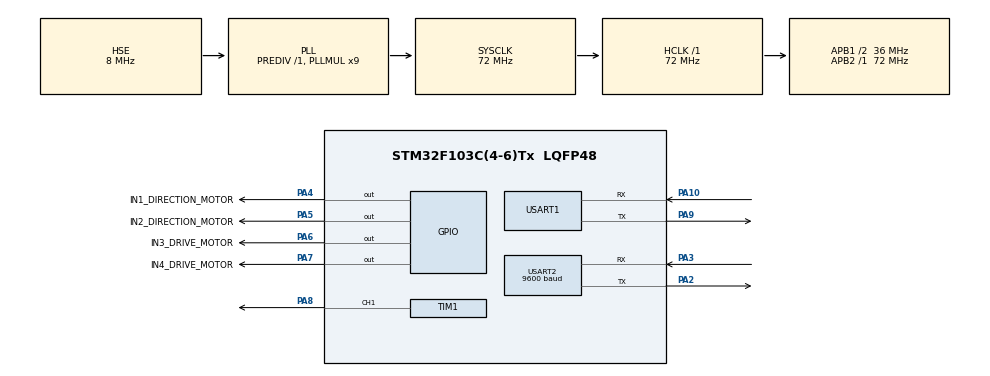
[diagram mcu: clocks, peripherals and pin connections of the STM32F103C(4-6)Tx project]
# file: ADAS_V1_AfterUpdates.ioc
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FREERTOS.Tasks01=defaultTask,-3,128,StartDefaultTask,Default,NULL,Dynamic,NULL,NULL;myTask02,2,128,T1_FCW_FCA_BA,Default,NULL,Dynamic,NULL,NULL;myTask04,3,128,T3_MotionDrive,Default,NULL,Dynamic,NULL,NULL
FREERTOS.configUSE_NEWLIB_REENTRANT=1
Mcu.Family=STM32F1
Mcu.Name=STM32F103C(4-6)Tx
Mcu.Package=LQFP48
NVIC.PriorityGroup=NVIC_PRIORITYGROUP_4
NVIC.TIM3_IRQn=true\:15\:0\:false\:false\:true\:false\:false\:true\:true
NVIC.TimeBase=TIM3_IRQn
NVIC.TimeBaseIP=TIM3
NVIC.USART1_IRQn=true\:5\:0\:false\:false\:true\:true\:true\:true\:true
NVIC.USART2_IRQn=true\:5\:0\:false\:false\:true\:true\:true\:true\:true
PA10.Mode=Asynchronous
PA10.Signal=USART1_RX
PA13.Mode=Serial_Wire
PA13.Signal=SYS_JTMS-SWDIO
PA14.Mode=Serial_Wire
PA14.Signal=SYS_JTCK-SWCLK
PA2.Mode=Asynchronous
PA2.Signal=USART2_TX
PA3.Mode=Asynchronous
PA3.Signal=USART2_RX
PA4.GPIO_Label=IN1_DIRECTION_MOTOR
PA4.Signal=GPIO_Output
PA5.GPIO_Label=IN2_DIRECTION_MOTOR
PA5.Signal=GPIO_Output
PA6.GPIO_Label=IN3_DRIVE_MOTOR
PA6.Signal=GPIO_Output
PA7.GPIO_Label=IN4_DRIVE_MOTOR
PA7.Signal=GPIO_Output
PA8.Signal=S_TIM1_CH1
PA9.Mode=Asynchronous
PA9.Signal=USART1_TX
PD0-OSC_IN.Mode=HSE-External-Oscillator
PD0-OSC_IN.Signal=RCC_OSC_IN
PD1-OSC_OUT.Mode=HSE-External-Oscillator
PD1-OSC_OUT.Signal=RCC_OSC_OUT
ProjectManager.HeapSize=0x200
ProjectManager.StackSize=0x400
ProjectManager.TargetToolchain=STM32CubeIDE
RCC.AHBFreq_Value=72000000
RCC.APB1CLKDivider=RCC_HCLK_DIV2
RCC.APB1Freq_Value=36000000
RCC.APB1TimFreq_Value=72000000
RCC.APB2Freq_Value=72000000
RCC.APB2TimFreq_Value=72000000
RCC.HCLKFreq_Value=72000000
RCC.PLLMUL=RCC_PLL_MUL9
RCC.PLLSourceVirtual=RCC_PLLSOURCE_HSE
RCC.SYSCLKFreq_VALUE=72000000
RCC.SYSCLKSource=RCC_SYSCLKSOURCE_PLLCLK
RCC.USBFreq_Value=72000000
SH.S_TIM1_CH1.0=TIM1_CH1,PWM Generation1 CH1
TIM1.AutoReloadPreload=TIM_AUTORELOAD_PRELOAD_ENABLE
TIM1.Channel-PWM\ Generation1\ CH1=TIM_CHANNEL_1
TIM1.Period=100-1
TIM1.Prescaler=72-1
USART1.VirtualMode=VM_ASYNC
USART2.BaudRate=9600
USART2.VirtualMode=VM_ASYNC
VP_FREERTOS_VS_CMSIS_V1.Mode=CMSIS_V1
VP_SYS_VS_tim3.Mode=TIM3
VP_TIM1_VS_ClockSourceINT.Mode=Internal
board=custom

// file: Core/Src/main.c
/* USER CODE BEGIN Header */
/**
  ******************************************************************************
  * @file           : main.c
  * @brief          : Main program body
  ******************************************************************************
  * @attention
  *
  * Copyright (c) 2024 STMicroelectronics.
  * All rights reserved.
  *
  * This software is licensed under terms that can be found in the LICENSE file
  * in the root directory of this software component.
  * If no LICENSE file comes with this software, it is provided AS-IS.
  *
  ******************************************************************************
  */
/* USER CODE END Header */
#include "main.h"
#include "cmsis_os.h"
#include "tim.h"
#include "usart.h"
#include "gpio.h"

/* USER CODE BEGIN Includes */
#include "motor_Interf.h"
/* USER CODE END Includes */

/* USER CODE BEGIN PV */
uint8_t g_key =0; // global variable to receive from uart
uint8_t g_Action =0; // global variable to receive from uart

/* USER CODE END PV */

void SystemClock_Config(void);
void MX_FREERTOS_Init(void);

int main(void)
{

  /* MCU Configuration--------------------------------------------------------*/

  /* Reset of all peripherals, Initializes the Flash interface and the Systick. */
  HAL_Init();

  /* Configure the system clock */
  SystemClock_Config();

  /* Initialize all configured peripherals */
  MX_GPIO_Init();
  MX_TIM1_Init();
  MX_USART2_UART_Init();
  MX_USART1_UART_Init();
  /* USER CODE BEGIN 2 */
  HAL_UART_Receive_IT(&huart1, &g_Action, 1);	// start the uart to receive with interrupt
  HAL_UART_Receive_IT(&huart2, &g_key, 1);	// start the uart to receive with interrupt
  /* USER CODE END 2 */

  /* Call init function for freertos objects (in cmsis_os2.c) */
  MX_FREERTOS_Init();

  /* Start scheduler */
  osKernelStart();

  /* We should never get here as control is now taken by the scheduler */

  /* Infinite loop */
  while (1)
  {

  }
}

void SystemClock_Config(void)
{
  RCC_OscInitTypeDef RCC_OscInitStruct = {0};
  RCC_ClkInitTypeDef RCC_ClkInitStruct = {0};

  /** Initializes the RCC Oscillators according to the specified parameters
  * in the RCC_OscInitTypeDef structure.
  */
  RCC_OscInitStruct.OscillatorType = RCC_OSCILLATORTYPE_HSE;
  RCC_OscInitStruct.HSEState = RCC_HSE_ON;
  RCC_OscInitStruct.HSEPredivValue = RCC_HSE_PREDIV_DIV1;
  RCC_OscInitStruct.HSIState = RCC_HSI_ON;
  RCC_OscInitStruct.PLL.PLLState = RCC_PLL_ON;
  RCC_OscInitStruct.PLL.PLLSource = RCC_PLLSOURCE_HSE;
  RCC_OscInitStruct.PLL.PLLMUL = RCC_PLL_MUL9;
  if (HAL_RCC_OscConfig(&RCC_OscInitStruct) != HAL_OK)
  {
    Error_Handler();
  }

  /** Initializes the CPU, AHB and APB buses clocks
  */
  RCC_ClkInitStruct.ClockType = RCC_CLOCKTYPE_HCLK|RCC_CLOCKTYPE_SYSCLK
                              |RCC_CLOCKTYPE_PCLK1|RCC_CLOCKTYPE_PCLK2;
  RCC_ClkInitStruct.SYSCLKSource = RCC_SYSCLKSOURCE_PLLCLK;
  RCC_ClkInitStruct.AHBCLKDivider = RCC_SYSCLK_DIV1;
  RCC_ClkInitStruct.APB1CLKDivider = RCC_HCLK_DIV2;
  RCC_ClkInitStruct.APB2CLKDivider = RCC_HCLK_DIV1;

  if (HAL_RCC_ClockConfig(&RCC_ClkInitStruct, FLASH_LATENCY_2) != HAL_OK)
  {
    Error_Handler();
  }
}

void HAL_TIM_PeriodElapsedCallback(TIM_HandleTypeDef *htim)
{
  if (htim->Instance == TIM3) {
    HAL_IncTick();
  }
}

void Error_Handler(void)
{
  __disable_irq();
  while (1)
  {
  }
}

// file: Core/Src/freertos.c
/* USER CODE BEGIN Header */
/**
  ******************************************************************************
  * File Name          : freertos.c
  * Description        : Code for freertos applications
  ******************************************************************************
  * @attention
  *
  * Copyright (c) 2024 STMicroelectronics.
  * All rights reserved.
  *
  * This software is licensed under terms that can be found in the LICENSE file
  * in the root directory of this software component.
  * If no LICENSE file comes with this software, it is provided AS-IS.
  *
  ******************************************************************************
  */
/* USER CODE END Header */

#include "FreeRTOS.h"
#include "task.h"
#include "main.h"
#include "cmsis_os.h"

/* USER CODE BEGIN Includes */
#include "motor_Interf.h"
#include "usart.h"
#include "tim.h"
#include "AB_Interf.h"
#include "FCA_Interf.h"
#include "FCW_Interf.h"
/* USER CODE END Includes */

/* USER CODE BEGIN PM */
#define MOVE_FORWARD		'f'
#define MOVE_BACKWARD		'b'
#define MOVE_RIGHT			'r'
#define MOVE_LEFT			'l'
#define STOP				's'

/* USER CODE END PM */

/* USER CODE BEGIN Variables */
uint8_t motion_Direction =0;
uint8_t motion_PWM=0;
uint8_t distance=255;
uint8_t ultrasonicReadsVariable;
uint8_t ultrasoncForwordReading;
uint8_t ultrasoncRightReading;
uint8_t ultrasoncLeftReading;

extern uint8_t g_key;
extern uint8_t g_Action ;

/* USER CODE END Variables */
osThreadId defaultTaskHandle;
osThreadId myTask02Handle;
osThreadId myTask04Handle;

void StartDefaultTask(void const * argument);
void T1_FCW_FCA_BA(void const * argument);
void T3_MotionDrive(void const * argument);

void MX_FREERTOS_Init(void); /* (MISRA C 2004 rule 8.1) */

/* GetIdleTaskMemory prototype (linked to static allocation support) */
void vApplicationGetIdleTaskMemory( StaticTask_t **ppxIdleTaskTCBBuffer, StackType_t **ppxIdleTaskStackBuffer, uint32_t *pulIdleTaskStackSize );

/* USER CODE BEGIN GET_IDLE_TASK_MEMORY */
static StaticTask_t xIdleTaskTCBBuffer;
static StackType_t xIdleStack[configMINIMAL_STACK_SIZE];

void vApplicationGetIdleTaskMemory( StaticTask_t **ppxIdleTaskTCBBuffer, StackType_t **ppxIdleTaskStackBuffer, uint32_t *pulIdleTaskStackSize )
{
  *ppxIdleTaskTCBBuffer = &xIdleTaskTCBBuffer;
  *ppxIdleTaskStackBuffer = &xIdleStack[0];
  *pulIdleTaskStackSize = configMINIMAL_STACK_SIZE;
  /* place for user code */
}
/* USER CODE END GET_IDLE_TASK_MEMORY */

void MX_FREERTOS_Init(void) {

  /* Create the thread(s) */
  /* definition and creation of defaultTask */
  osThreadDef(defaultTask, StartDefaultTask, osPriorityIdle, 0, 128);
  defaultTaskHandle = osThreadCreate(osThread(defaultTask), NULL);

  /* definition and creation of myTask02 */
  osThreadDef(myTask02, T1_FCW_FCA_BA, osPriorityHigh, 0, 128);
  myTask02Handle = osThreadCreate(osThread(myTask02), NULL);

  /* definition and creation of myTask04 */
  osThreadDef(myTask04, T3_MotionDrive, osPriorityRealtime, 0, 128);
  myTask04Handle = osThreadCreate(osThread(myTask04), NULL);

}

void StartDefaultTask(void const * argument)
{
  for(;;)
  {
    osDelay(1);
  }
}

void T1_FCW_FCA_BA(void const * argument)
{
  /* USER CODE BEGIN T1_FCW_FCA_BA */
  /* Infinite loop */
  for(;;)
  {/*TAKE_Warning_Semaphore than take decision wich system to be activated (FCW or FCA or AB)*/
	  //	  	if ( (distance < AUTOMATIC_BRAKE_DISTANCE) && (ultrasonicRight_Read < WARRNING_DISTANCE) &&  (ultrasonicLeft_Read < WARRNING_DISTANCE)) {
	  //	  		AutomaticBrake();
	  //	  	} else if ((distance < FORWARD_COLISSION_AVOIDANCE_DISTANCE) && (ultrasonicRightRead <= WARRNING_DISTANCE) && (ultrasonicLeftRead > WARRNING_DISTANCE)) {
	  //			FCA_LeftON();
	  //	  	}
	  //	  	else if ((distance < FORWARD_COLISSION_AVOIDANCE_DISTANCE) && (ultrasonicRightRead > WARRNING_DISTANCE) && (ultrasonicLeftRead <= WARRNING_DISTANCE)) {
	  //			FCA_RightON();
	  //	  	} else if(distance<WARRNING_DISTANCE){
	  //	  		FCW_WarrningON();
	  //	  	}
	  //	  	else
	  //	  	{
	  //	  		/*Do nothing*/
	  //	  	}
    osDelay(1);
  }
  /* USER CODE END T1_FCW_FCA_BA */
}

void T3_MotionDrive(void const * argument)
{
  /* USER CODE BEGIN T3_MotionDrive */
	  /* Infinite loop */
	motion_Direction = 's';
	motion_PWM =0;
  for(;;)
  {
	  /*Take Bluetooth_Semaphore that was given by the UART_Interrupt receiving input from user
	 	   * then its allowed to control the car via app controller */
	 	  /* if event receive from Bluetooth is given by interrupt callback function of UART*/
	 		switch (motion_Direction) {
	 	  	case MOVE_FORWARD:
	 	  		Forward();
	 	  		break;
	 	  	case MOVE_BACKWARD:
	 	  		Backward();
	 	  		break;
	 	  	case MOVE_LEFT:
	 	  		Left();
	 	  		break;
	 	  	case MOVE_RIGHT:
	 	  		Right();
	 	  		break;
	 	  	case STOP:
	 	  		Stop();
	 	  		break;
	 	  	default:
	 	  		break;
	 	  	}
	 		/*update the PWM value*/
	 		//sConfigOC.Pulse = motion_PWM;
	 		__HAL_TIM_SET_COMPARE(&htim1,TIM_CHANNEL_1,motion_PWM); //TIM1-> CCR1 = motion_PWM;

//	 	  }

    osDelay(1);
  }
  /* USER CODE END T3_MotionDrive */
}

/* USER CODE BEGIN Application */

void HAL_UART_RxCpltCallback(UART_HandleTypeDef *huart){

	if(g_key<50){
		motion_PWM=g_key;
	}
	else{
		motion_Direction=g_key;
	}
	HAL_UART_Receive_IT(&huart1, &g_key,1);
}

/* USER CODE END Application */
